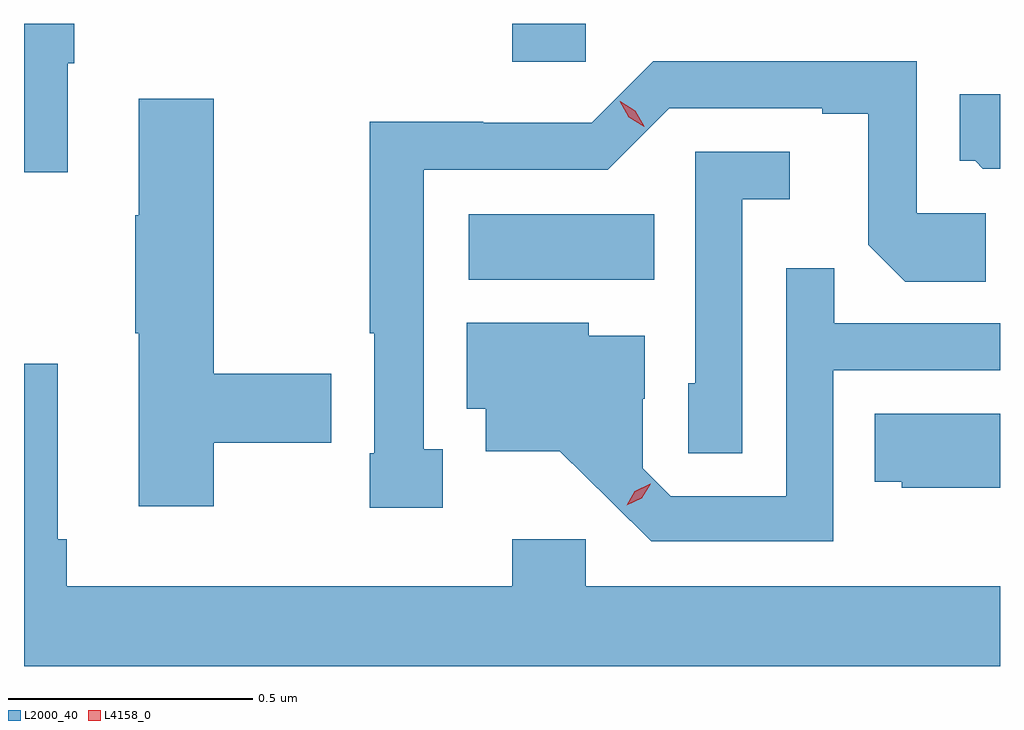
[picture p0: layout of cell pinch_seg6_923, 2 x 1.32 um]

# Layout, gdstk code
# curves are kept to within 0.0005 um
import gdstk
lib = gdstk.Library(unit=1e-6, precision=1e-09)
def R(c, l, rs):  # rectangles x0, y0, x1, y1
    for r in rs: c.add(gdstk.rectangle(r[:2], r[2:], *l))
def P(c, l, *ps):  # polygons
    for p in ps: c.add(gdstk.Polygon(p, *l))
L2000_40 = (2000, 40)
L4158_0 = (4158, 0)

pinch_seg6_923 = lib.new_cell('pinch_seg6_923')
R(pinch_seg6_923, L2000_40, [(158.244,917.492,158.624,917.626), (158.333,917.939,158.484,918.017)])
P(pinch_seg6_923, L2000_40, [(157.423,917.936),(157.436,917.936),(157.436,918.017),(157.333,918.017),(157.333,917.712),(157.423,917.712)],
  [(158.191,917.145),(158.152,917.145),(158.152,917.718),(158.529,917.718),(158.655,917.844),(158.969,917.844),(158.969,917.832),(159.063,917.832),(159.063,917.564),(159.139,917.488),(159.304,917.488),(159.304,917.628),(159.162,917.628),(159.162,917.94),(158.622,917.94),(158.496,917.814),(158.274,917.814),(158.274,917.816),(158.041,917.816),(158.041,917.383),(158.051,917.383),(158.051,917.137),(158.041,917.137),(158.041,917.025),(158.191,917.025)],
  [(159.333,917.872),(159.251,917.872),(159.251,917.736),(159.282,917.736),(159.298,917.72),(159.333,917.72)],
  [(157.722,917.158),(157.963,917.158),(157.963,917.3),(157.722,917.3),(157.722,917.863),(157.568,917.863),(157.568,917.624),(157.561,917.624),(157.561,917.383),(157.568,917.383),(157.568,917.028),(157.722,917.028)],
  [(158.805,917.657),(158.902,917.657),(158.902,917.754),(158.709,917.754),(158.709,917.28),(158.694,917.28),(158.694,917.137),(158.805,917.137)],
  [(158.991,917.307),(159.333,917.307),(159.333,917.403),(158.993,917.403),(158.993,917.516),(158.895,917.516),(158.895,917.049),(158.658,917.049),(158.601,917.106),(158.601,917.248),(158.605,917.248),(158.605,917.377),(158.49,917.377),(158.49,917.404),(158.24,917.404),(158.24,917.228),(158.279,917.228),(158.279,917.141),(158.431,917.141),(158.618,916.956),(158.991,916.956)],
  [(159.333,916.864),(158.484,916.864),(158.484,916.96),(158.333,916.96),(158.333,916.864),(157.421,916.864),(157.421,916.96),(157.402,916.96),(157.402,917.32),(157.333,917.32),(157.333,916.7),(159.333,916.7)],
  [(159.333,917.218),(159.076,917.218),(159.076,917.078),(159.132,917.078),(159.132,917.066),(159.333,917.066)])
P(pinch_seg6_923, L4158_0, [(158.604,917.806),(158.572,917.825),(158.554,917.858),(158.554,917.858),(158.555,917.858),(158.586,917.839),(158.604,917.807),(158.604,917.806)],
  [(158.568,917.03),(158.568,917.03),(158.585,917.059),(158.616,917.074),(158.617,917.074),(158.617,917.074),(158.599,917.044),(158.568,917.03)])

lib.write_gds('pinch_seg6_923.gds')
